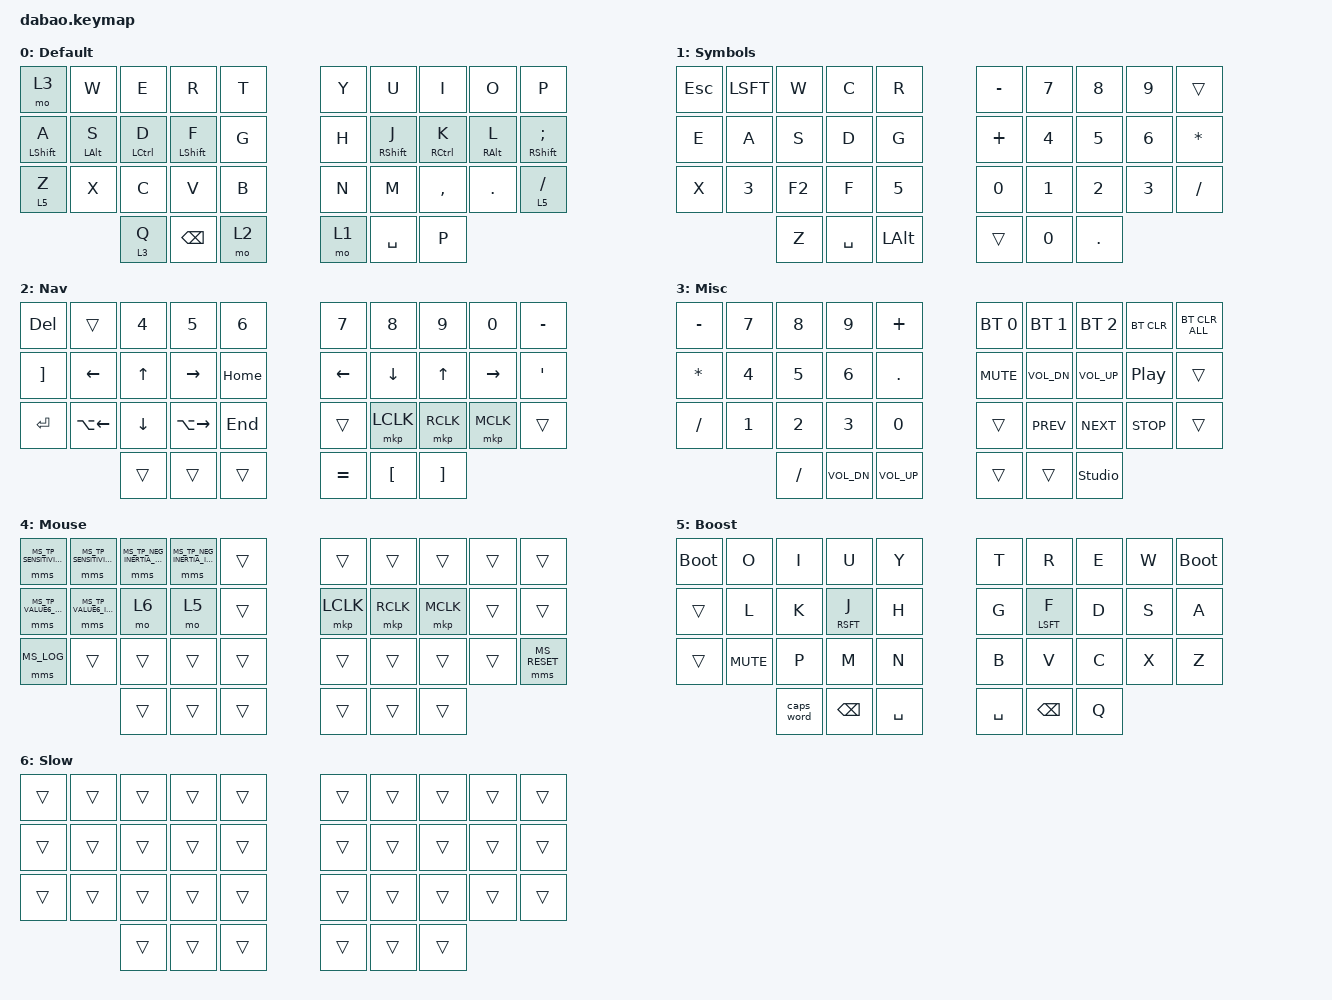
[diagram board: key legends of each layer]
#include <behaviors.dtsi>
#include <behaviors/mouse_setting.dtsi>
#include <dt-bindings/zmk/keys.h>
#include <dt-bindings/zmk/bt.h>
#include <dt-bindings/zmk/mouse_settings.h>

&mt {
    flavor = "hold-preferred";
    tapping-term-ms = <200>;
    quick-tap-ms = <180>;
};

/ {
    behaviors {
        hml: home_row_mod_left {
            compatible = "zmk,behavior-hold-tap";
            #binding-cells = <2>;
            flavor = "balanced";
            require-prior-idle-ms = <150>;
            tapping-term-ms = <280>;
            quick-tap-ms = <175>;
            bindings = <&kp>, <&kp>;
            hold-trigger-key-positions = <5 6 7 8 9 15 16 17 18 19 25 26 27 28 29>; // Right side keys + right thumb
            hold-trigger-on-release;
        };
        hmr: home_row_mod_right {
            compatible = "zmk,behavior-hold-tap";
            #binding-cells = <2>;
            flavor = "balanced";
            require-prior-idle-ms = <150>;
            tapping-term-ms = <280>;
            quick-tap-ms = <175>;
            bindings = <&kp>, <&kp>;
            hold-trigger-key-positions = <0 1 2 3 4 10 11 12 13 14 20 21 22 23 24>; // Left side keys + left thumb
            hold-trigger-on-release;
        };

        // Left thumb. Hold from idle = nav layer, tap = one backspace.
        // quick-tap-ms is measured from the first press to the second press: a
        // quick tap followed by another press inside that window forces the tap
        // side, and ZMK keeps that tap held until the key is released, so the
        // host's own key repeat takes over and double-tap-and-hold deletes.
        // The tap side must stay a plain &kp. Routing it through a macro breaks
        // quick-tap detection, because macros run via the behavior queue, which
        // stamps the inner keycode with the current time instead of the
        // hold-tap's press time, and that makes the hold-tap forget this
        // position was just tapped. Raise quick-tap-ms if the window is tight.
        bspc_nav: bspc_nav {
            compatible = "zmk,behavior-hold-tap";
            #binding-cells = <2>;
            flavor = "tap-preferred";
            tapping-term-ms = <200>;
            quick-tap-ms = <200>;
            bindings = <&mo>, <&kp>;
        };
    };

    /*                KEY POSITIONS
     ╭────────────────────╮ ╭────────────────────╮
     │  0   1   2   3   4 │ │  5   6   7   8   9 │
     │ 10  11  12  13  14 │ │ 15  16  17  18  19 │
     │ 20  21  22  23  24 │ │ 25  26  27  28  29 │
     ╰───────╮ 30  31  32 │ │ 33  34  35╭────────╯
             ╰────────────╯ ╰───────────╯            */

    combos {
        compatible = "zmk,combos";

        tabbak {
            timeout-ms = <50>;
            key-positions = <20 21>;
            layers = <0>;
            bindings = <&kp LC(PG_UP)>;
        };

        tabfwd {
            timeout-ms = <50>;
            key-positions = <22 23>;
            layers = <0>;
            bindings = <&kp LC(PG_DN)>;
        };

        skctrl {
            timeout-ms = <50>;
            key-positions = <12 13>;
            layers = <0>;
            bindings = <&sk LCTL>;
        };

        pageup {
            timeout-ms = <50>;
            key-positions = <1 2>;
            layers = <0>;
            bindings = <&kp PG_UP>;
        };

        pagedown {
            timeout-ms = <50>;
            key-positions = <21 22>;
            layers = <0>;
            bindings = <&kp PG_DN>;
        };

        esc {
            timeout-ms = <50>;
            key-positions = <23 24>;
            layers = <0>;
            bindings = <&kp ESC>;
        };

        win {
            timeout-ms = <50>;
            key-positions = <0 32>;
            layers = <0>;
            bindings = <&sk LGUI>;
        };

        thai {
            timeout-ms = <50>;
            key-positions = <32 14>;
            layers = <0>;
            bindings = <&kp LA(LSHFT)>;
        };

        tab {
            timeout-ms = <50>;
            key-positions = <13 32>;
            layers = <0>;
            bindings = <&kp TAB>;
        };

        stickyalt {
            timeout-ms = <50>;
            key-positions = <20 21 22>;
            layers = <0>;
            bindings = <&sk LALT>;
        };

        rightenter {
            timeout-ms = <50>;
            key-positions = <27 28>;
            layers = <0>;
            bindings = <&kp RET>;
        };

        f2 {
            timeout-ms = <50>;
            key-positions = <4 14>;
            layers = <0>;
            bindings = <&kp F2>;
        };

        leftpar {
            timeout-ms = <50>;
            key-positions = <0 10>;
            layers = <0>;
            bindings = <&kp LPAR>;
        };

        rightpar {
            timeout-ms = <50>;
            key-positions = <1 11>;
            layers = <0>;
            bindings = <&kp RPAR>;
        };

        equal {
            timeout-ms = <50>;
            key-positions = <2 12>;
            layers = <0>;
            bindings = <&kp EQUAL>;
        };

        underscore {
            timeout-ms = <50>;
            key-positions = <3 13>;
            layers = <0>;
            bindings = <&kp UNDER>;
        };

        gameon {
            timeout-ms = <50>;
            key-positions = <0 1 2 3>;
            layers = <0>;
            bindings = <&tog 1>;
        };

        gameoff {
            timeout-ms = <50>;
            key-positions = <0 1 2 3>;
            layers = <1>;
            bindings = <&tog 1>;
        };

        sklayer3 {
            timeout-ms = <50>;
            key-positions = <20 32>;
            layers = <0>;
            bindings = <&sl 3>;
        };

        sklayer5 {
            timeout-ms = <50>;
            key-positions = <10 32>;
            layers = <0>;
            bindings = <&sl 5>;
        };

        combo_sym_r13 {
            timeout-ms = <50>;
            key-positions = <18 28>;
            bindings = <&kp LG(V)>;
        };

        //combo_sym_r14 {
        //    timeout-ms = <50>;
        //    key-positions = <19 29>;
        //    bindings = <&kp BLSH>;
        //};

        // Bracket combos - opening
        //combo_lparen {
        //    timeout-ms = <50>;
        //    key-positions = <13 14>;
        //    bindings = <&kp LPAR>;
        //};
        //combo_lbkt {
        //    timeout-ms = <50>;
        //    key-positions = <3 4>;
        //    bindings = <&kp LBKT>;
        //};
        //combo_lbrc {
        //    timeout-ms = <50>;
        //    key-positions = <23 24>;
        //    bindings = <&kp LBRC>;
        //};

        // Bracket combos - closing
        //combo_rparen {
        //    timeout-ms = <50>;
        //    key-positions = <15 16>;
        //    bindings = <&kp RPAR>;
        //};
        //combo_rbkt {
        //    timeout-ms = <50>;
        //    key-positions = <5 6>;
        //    bindings = <&kp RBKT>;
        //};
        //combo_rbrc {
        //    timeout-ms = <50>;
        //    key-positions = <25 26>;
        //    bindings = <&kp RBRC>;
        //};

        // d + f
        combo_hyphen {
            timeout-ms = <50>;
            key-positions = <12 13>;
            bindings = <&kp MINUS>;
        };
        // f + g
        combo_under {
            timeout-ms = <50>;
            key-positions = <13 14>;
            bindings = <&kp UNDER>;
        };
        // l + ; = '
        combo_sqt {
            timeout-ms = <50>;
            key-positions = <18 19>;
            bindings = <&kp SQT>;
        };
    };

    macros {
        // Ctrl+Shift+Tab (browser tab back)
        lcs_tab: lcs_tab {
            compatible = "zmk,behavior-macro";
            #binding-cells = <0>;
            bindings = <&macro_press &kp LCTRL &kp LSHFT>,
                       <&macro_tap &kp TAB>,
                       <&macro_release &kp LSHFT &kp LCTRL>;
        };

        // Screenshot (Shift+Gui+4)
        screenshot: screenshot {
            compatible = "zmk,behavior-macro";
            #binding-cells = <0>;
            bindings = <&kp LG(LS(N4))>;
        };

        // Explicit-modifier wrappers for Ctrl combos. An implicit modifier
        // (&kp LC(x)) is sent as a single HID report together with the key and
        // gets dropped by GNOME/Wayland, so Ctrl arrives too late and the key
        // fires unmodified. A macro emits the Ctrl press as its own report
        // first, which avoids that (zmk#759, gnome-shell#5890).
        ctrl_tab: ctrl_tab {
            compatible = "zmk,behavior-macro";
            #binding-cells = <0>;
            bindings = <&macro_press &kp LCTRL>,
                       <&macro_tap &kp TAB>,
                       <&macro_release &kp LCTRL>;
        };
    };

    keymap {
        compatible = "zmk,keymap";

        default_layer {
            display-name = "Default";
            bindings = <
                   &mo 3           &kp W          &kp E           &kp R         &kp T             &kp Y     &kp U          &kp I           &kp O         &kp P
                   &hml LSHFT A    &hml LALT S    &hml LCTRL D    &hml LSHFT F  &kp G             &kp H     &hmr RSHFT J   &hmr RCTRL K    &hmr RALT L   &hmr RSHFT SEMI
                   &lt 5 Z         &kp X          &kp C           &kp V         &kp B             &kp N     &kp M          &kp COMMA       &kp DOT       &lt 5 SLASH
           
                                                  &lt 3 Q         &kp BSPC      &mo 2             &mo 1     &kp SPACE      &kp P
      
            >;
        };

        // Symbols. Held from the inner left thumb (&bspc_nav), and also turns
        // the trackpoint into a scroll wheel while held: dabao.overlay's
        // scroller override is keyed to this layer's number (1).
        symbols_layer {
            display-name = "Symbols";
            bindings = <
                       &kp ESC     &kp LSFT    &kp W       &kp C       &kp R            &kp MINUS       &kp N7         &kp N8        &kp N9      &trans
                       &kp E       &kp A       &kp S       &kp D       &kp G            &kp PLUS        &kp N4         &kp N5        &kp N6      &kp STAR
                       &kp X       &kp N3      &kp F2      &kp F       &kp N5           &kp N0          &kp N1         &kp N2        &kp N3      &kp SLASH
          
                                               &kp Z       &kp SPACE   &kp LALT          &trans         &kp N0         &kp DOT
            >;
        };

        nav_layer {
            display-name = "Nav";
            bindings = <
                         &kp DEL    &trans          &kp N4      &kp N5          &kp N6                &kp N7       &kp N8      &kp N9       &kp N0      &kp MINUS
                         &kp RBKT   &kp LEFT        &kp UP      &kp RIGHT       &kp HOME              &kp LEFT     &kp DOWN    &kp UP       &kp RIGHT   &kp APOS
                         &kp RET    &kp LA(LEFT)    &kp DOWN    &kp LA(RIGHT)   &kp END               &trans       &mkp LCLK   &mkp RCLK    &mkp MCLK   &trans
          
                                                    &trans      &trans          &trans                &kp EQUAL    &kp LBKT    &kp RBKT
    
            >;
        };

        // Misc layer. Position 35 (the rightmost right-thumb key, which is
        // &key_repeat on the default layer) is repurposed as &studio_unlock:
        // hold the right thumb ENTER (position 33 = &lt 3) and tap it to unlock
        // ZMK Studio for runtime keymap edits.
        misc_layer {
            display-name = "Misc";
            bindings = <
                    &kp MINUS      &kp N7          &kp N8          &kp N9         &kp PLUS                  &bt BT_SEL 0    &bt BT_SEL 1    &bt BT_SEL 2      &bt BT_CLR   &bt BT_CLR_ALL
                    &kp STAR       &kp N4          &kp N5          &kp N6         &kp DOT                   &kp C_MUTE      &kp C_VOL_DN    &kp C_VOL_UP      &kp C_PP     &trans
                    &kp SLASH      &kp N1          &kp N2          &kp N3         &kp N0                    &trans          &kp C_PREV      &kp C_NEXT        &kp C_STOP   &trans
   
                                                   &kp SLASH       &kp C_VOL_DN   &kp C_VOL_UP              &trans          &trans  &studio_unlock
            >;
        };

        // Mouse layer. Held with the outer left thumb (&mo 4 at position 30 on
        // the default layer), so a click is that thumb plus J/K/L. F (13) holds
        // the boost layer and position 12 holds slow; both change what the
        // trackpoint reports rather than what a key does (see boost, slow and
        // scroller in dabao.overlay).
        //
        // The left half carries the &mms (mouse setting) keys. A press applies
        // one step and the driver writes all four values to flash once
        // CONFIG_ZMK_SETTINGS_SAVE_DEBOUNCE (5s, set in dabao.conf) has passed
        // without another change, restoring them on the next boot. This is the
        // complete set of codes &mms accepts (dt-bindings/zmk/mouse_settings.h);
        // `value` is the number the code stands for and `key` is where this
        // layer binds it (`-` = unbound here):
        //
        //   code                       value  key  step  range  default
        //   MS_LOG                         0   20     -      -        -
        //   MS_RESET                       1    4     -      -        -
        //   MS_TP_SENSITIVITY_INCR        10    1   +10  0-255      128
        //   MS_TP_SENSITIVITY_DECR        11    0   -10  0-255      128
        //   MS_TP_NEG_INERTIA_INCR        12    3    +1  0-255        6
        //   MS_TP_NEG_INERTIA_DECR        13    2    -1  0-255        6
        //   MS_TP_VALUE6_INCR             14   11    +5  0-255       97
        //   MS_TP_VALUE6_DECR             15   10    -5  0-255       97
        //   MS_TP_PTS_THRESHOLD_INCR      16    -    +1  0-255        8
        //   MS_TP_PTS_THRESHOLD_DECR      17    -    -1  0-255        8
        //
        // `step` is what one press adds or subtracts, and `default` is what the
        // trackpoint reports before anything is stored. A step that would leave
        // 0-255 is rejected rather than clamped, so the value just stops moving
        // at the ends; holding a key does not repeat, so each press is one step.
        //
        // The four tuned settings, named as the devicetree properties on
        // &tpoint0 (MS_LOG prints the same names, except that the
        // press-to-select one comes out as `tp-tp-press-to-select-threshold`,
        // a typo in the driver's log message). The details below are from the
        // TrackPoint System Version 4.0 Engineering Specification, section
        // 2.4.19.3:
        //
        //   tp-sensitivity
        //       Scales the stick force before the transfer function is applied
        //       (force / 128), so it sets how much force a given pointer speed
        //       costs. 128 is 1.00x and the power-on default; higher is faster,
        //       and 255 is 1.99x.
        //   tp-neg-inertia
        //       Negative inertia factor. During transient force applications
        //       the trackpoint adds a term proportional to the change in force
        //       since the previous sample, then scales the result down by
        //       1 / (1 + I * (1 - Z0 / Z1)). 0 disables the algorithm, 6 is the
        //       default. Higher values make the pointer react faster to a
        //       change in pressure while damping motion at low speed, which is
        //       IBM's fix for a sluggish start to a flick.
        //   tp-val6-upper-speed
        //       Speed ceiling of the transfer function curve: the pointer tops
        //       out at 22 + 4.3 * value6 mickeys per second, so the default 97
        //       (x"61") is about 439, and each +5 step adds about 21.5. IBM
        //       sizes it for the display, so lower it on a small screen and
        //       raise it for a large one.
        //   tp-press-to-select-threshold
        //       How hard a press on the stick counts as a click. Default 8.
        //       Inert here: the trackpoint runs with disable-clicking in
        //       dabao_trackpoint.dtsi, so neither MS_TP_PTS_THRESHOLD code is
        //       bound on this layer.
        //
        // MS_LOG logs all four values as a ready-to-paste
        // `&mouse_ps2_conf = { ... }` block, but only when logging is enabled;
        // the debug block at the bottom of dabao.conf is commented out, so it
        // prints nothing as shipped. This repo has no `mouse_ps2_conf` node, so
        // merge those properties into &tpoint0 in dabao_trackpoint.dtsi to fix
        // them in firmware -- doing so makes the driver ignore the stored value
        // on boot and re-apply the devicetree one instead (it logs "because
        // deviceconfig defines the setting"), which is why all four are left
        // unset there. MS_RESET deletes the stored values and pushes those
        // defaults back into the trackpoint.
        //
        // Positions 12 and 13 (not the code values of 12 and 13 above) hold the
        // slow and boost layers. Held, they scale trackpoint motion by 1/2 and
        // 3/1, so a flick crosses a large display without giving up fine control
        // the rest of the time.
        mouse_layer {
            display-name = "Mouse";
            bindings = <
            // ╭───────────────┬───────────────┬───────────────┬───────────────┬───────────────╮  ╭───────────────┬───────────────┬───────────────┬───────────────┬───────────────╮
  &mms MS_TP_SENSITIVITY_DECR  &mms MS_TP_SENSITIVITY_INCR  &mms MS_TP_NEG_INERTIA_DECR  &mms MS_TP_NEG_INERTIA_INCR  &trans    &trans          &trans          &trans          &trans          &trans
            // ├───────────────┼───────────────┼───────────────┼───────────────┼───────────────┤  ├───────────────┼───────────────┼───────────────┼───────────────┼───────────────┤
         &mms MS_TP_VALUE6_DECR  &mms MS_TP_VALUE6_INCR   &mo 6          &mo 5           &trans         &mkp LCLK      &mkp RCLK        &mkp MCLK         &trans          &trans
            // ├───────────────┼───────────────┼───────────────┼───────────────┼───────────────┤  ├───────────────┼───────────────┼───────────────┼───────────────┼───────────────┤
                    &mms MS_LOG          &trans          &trans          &trans          &trans            &trans          &trans          &trans          &trans          &mms MS_RESET
            // ╰───────────────┴───────────────┴───────────────┴───────────────┴───────────────╯  ╰───────────────┴───────────────┴───────────────┴───────────────┴───────────────╯
            //                                 ╭───────────────┬───────────────┬───────────────╮  ╭───────────────┬───────────────┬───────────────╮
                                                         &trans          &trans          &trans             &trans          &trans          &trans
            //                                 ╰───────────────┴───────────────┴───────────────╯  ╰───────────────┴───────────────┴───────────────╯
            >;
        };

        // Boost and precision. Held from the mouse layer, these change no key
        // binding at all: dabao.overlay's input_listener carries a layer
        // override for each, scaling trackpoint motion by 3/1 and 1/2. Every
        // key is &trans, so clicks on 16/17/18 keep working while boosting and
        // scrolling still wins if symbols is held at the same time.
        //
        // Position in this file fixes the layer numbers: default 0, symbols 1,
        // nav 2, misc 3, mouse 4, boost 5, slow 6, then the two reserved
        // layers. Boost and slow must stay at 5 and 6, because the mouse
        // layer's &mo bindings point at them and dabao.overlay keys the boost
        // and slow overrides to <5> and <6>; inserting or deleting a layer
        // above them shifts those numbers and silently changes what a held
        // modifier does. Sitting before the reserved pair keeps boost and slow
        // at 5 and 6 in both the Studio and non-Studio layer enumerations.
        // Nothing here is verified by the compiler: a wrong number builds clean
        // and misbehaves at runtime, so check the generated layer order after
        // any edit to this file.
        boost_layer {
            display-name = "Boost";
            bindings = <
                         &bootloader   &kp O         &kp I       &kp U      &kp Y                &kp T      &kp R       &kp E      &kp W      &bootloader
                         &trans        &kp L         &kp K       &mt RSFT J &kp H                &kp G      &mt LSFT F  &kp D      &kp S      &kp A
                         &trans        &kp C_MUTE    &kp P       &kp M      &kp N                &kp B      &kp V       &kp C      &kp X      &kp Z
           
                                                     &caps_word  &kp BSPC   &kp SPACE            &kp SPACE  &kp BSPC    &kp Q
            >;
        };

        slow_layer {
            display-name = "Slow";
            bindings = <
            // ╭───────────────┬───────────────┬───────────────┬───────────────┬───────────────╮  ╭───────────────┬───────────────┬───────────────┬───────────────┬───────────────╮
                         &trans          &trans          &trans          &trans          &trans            &trans          &trans          &trans          &trans          &trans
            // ├───────────────┼───────────────┼───────────────┼───────────────┼───────────────┤  ├───────────────┼───────────────┼───────────────┼───────────────┼───────────────┤
                         &trans          &trans          &trans          &trans          &trans            &trans          &trans          &trans          &trans          &trans
            // ├───────────────┼───────────────┼───────────────┼───────────────┼───────────────┤  ├───────────────┼───────────────┼───────────────┼───────────────┼───────────────┤
                         &trans          &trans          &trans          &trans          &trans            &trans          &trans          &trans          &trans          &trans
            // ╰───────────────┴───────────────┴───────────────┴───────────────┴───────────────╯  ╰───────────────┴───────────────┴───────────────┴───────────────┴───────────────╯
            //                                 ╭───────────────┬───────────────┬───────────────╮  ╭───────────────┬───────────────┬───────────────╮
                                                &trans          &trans          &trans            &trans          &trans          &trans
            //                                 ╰───────────────┴───────────────┴───────────────╯  ╰───────────────┴───────────────┴───────────────╯
            >;
        };

        // Two spare layers ZMK Studio can rename and fill in without a reflash.
        // Non-Studio builds skip them (DT_FOREACH_CHILD_STATUS_OKAY); Studio
        // selects ZMK_KEYMAP_LAYER_REORDERING, which enumerates them.
        extra1 {
            status = "reserved";
            display-name = "Extra 1";
        };

        extra2 {
            status = "reserved";
            display-name = "Extra 2";
        };
    };
};
